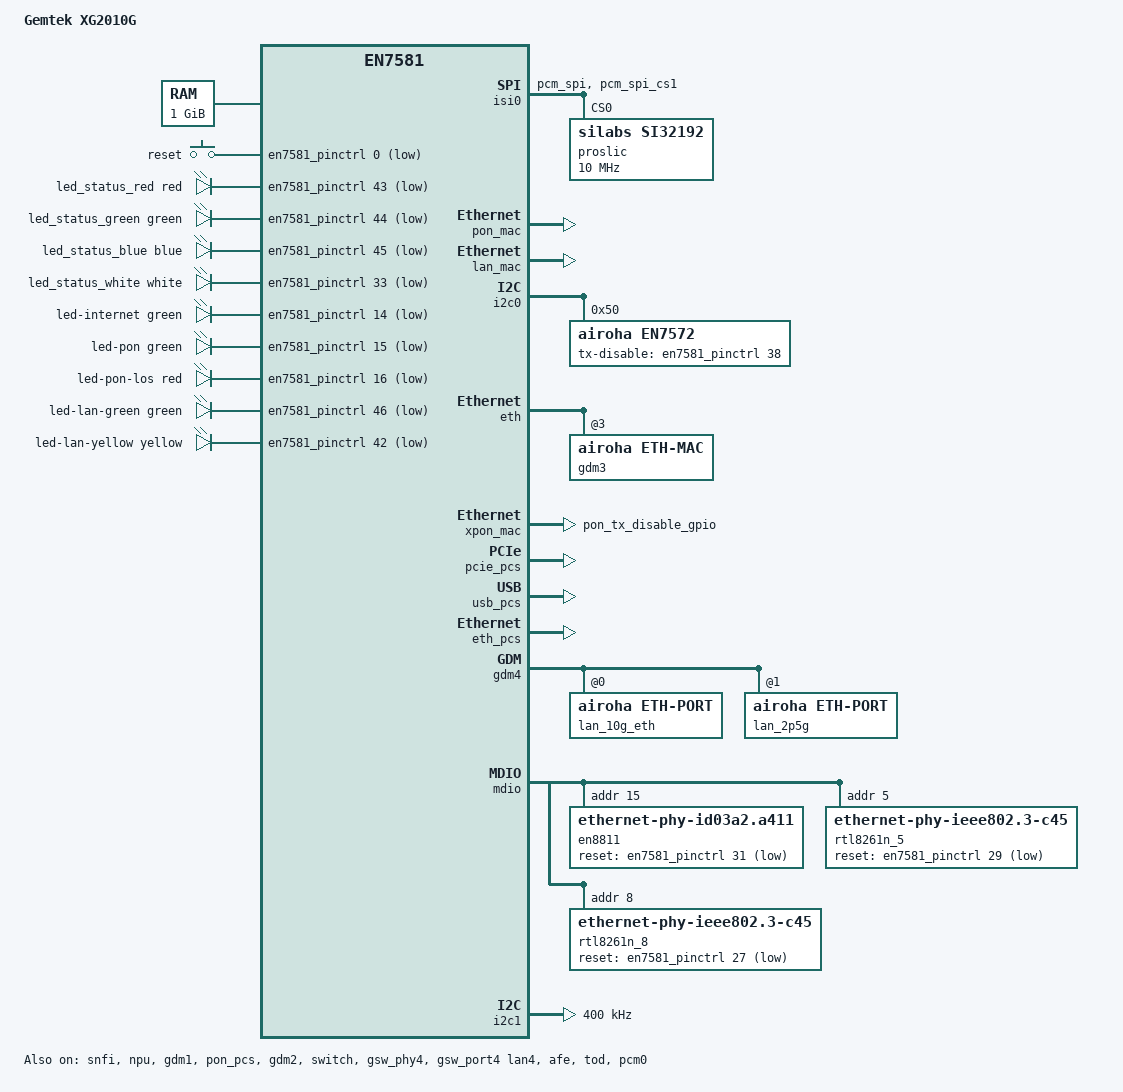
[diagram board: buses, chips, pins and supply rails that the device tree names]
// SPDX-License-Identifier: (GPL-2.0-only OR BSD-2-Clause)
/dts-v1/;

#include <dt-bindings/gpio/gpio.h>
#include <dt-bindings/input/input.h>
#include <dt-bindings/leds/common.h>
#include <dt-bindings/phy/phy.h>
#include "an7581.dtsi"

/ {
	model = "Gemtek XG2010G";
	compatible = "gemtek,xg2010g",
		     "airoha,an7581", "airoha,en7581";
	aliases {
		led-boot = &led_status_red;
		led-failsafe = &led_status_blue;
		led-running = &led_status_green;
		led-upgrade = &led_status_blue;
		serial0 = &uart1;
	};

	chosen {
		rootdisk = <&ubi_rootfs>;
		bootargs = "console=ttyS0,115200 earlycon cpufreq.default_governor=powersave ubi.block=0,fit root=/dev/fit0 rootwait rdinit=/sbin/init";
		stdout-path = "serial0:115200n8";
	};

	memory@80000000 {
		device_type = "memory";
		/* The board contains 1 GiB of DRAM. */
		reg = <0x0 0x80000000 0x0 0x40000000>;
	};

	keys {
		compatible = "gpio-keys";

		key-reset {
			label = "reset";
			gpios = <&en7581_pinctrl 0 GPIO_ACTIVE_LOW>;
			linux,code = <KEY_RESTART>;
		};
	};

	leds {
		compatible = "gpio-leds";

		led_status_red: led-status-red {
			color = <LED_COLOR_ID_RED>;
			function = LED_FUNCTION_STATUS;
			gpios = <&en7581_pinctrl 43 GPIO_ACTIVE_LOW>;
			default-state = "on";
		};

		led_status_green: led-status-green {
			color = <LED_COLOR_ID_GREEN>;
			function = LED_FUNCTION_STATUS;
			gpios = <&en7581_pinctrl 44 GPIO_ACTIVE_LOW>;
		};

		led_status_blue: led-status-blue {
			color = <LED_COLOR_ID_BLUE>;
			function = LED_FUNCTION_STATUS;
			gpios = <&en7581_pinctrl 45 GPIO_ACTIVE_LOW>;
		};
		
		led_status_white: led-status-white {
			color = <LED_COLOR_ID_WHITE>;
			function = LED_FUNCTION_STATUS;
			gpios = <&en7581_pinctrl 33 GPIO_ACTIVE_LOW>;
		};

		led-internet {
			color = <LED_COLOR_ID_GREEN>;
			function = LED_FUNCTION_WAN_ONLINE;
			gpios = <&en7581_pinctrl 14 GPIO_ACTIVE_LOW>;
			linux,default-trigger = "pon0-online";
		};

		/* The green PON LED reflects O1-O3, O4, and O5 registration stages. */
		led-pon {
			color = <LED_COLOR_ID_GREEN>;
			function = LED_FUNCTION_WAN;
			gpios = <&en7581_pinctrl 15 GPIO_ACTIVE_LOW>;
			linux,default-trigger = "pon0-registration";
		};

		/* The red PON LED indicates optical signal loss. */
		led-pon-los {
			color = <LED_COLOR_ID_RED>;
			function = LED_FUNCTION_WAN;
			gpios = <&en7581_pinctrl 16 GPIO_ACTIVE_LOW>;
			linux,default-trigger = "pon0-los";
		};

		/* GPIO42 and GPIO46 drive the LAN4 1GbE bicolor indicator. */
		led-lan-green {
			color = <LED_COLOR_ID_GREEN>;
			function = LED_FUNCTION_LAN;
			function-enumerator = <4>;
			gpios = <&en7581_pinctrl 46 GPIO_ACTIVE_LOW>;
		};

		led-lan-yellow {
			color = <LED_COLOR_ID_YELLOW>;
			function = LED_FUNCTION_LAN;
			function-enumerator = <4>;
			gpios = <&en7581_pinctrl 42 GPIO_ACTIVE_LOW>;
		};
	};
};

&cpufreq {
	reg = <0x0 0x1fa20000 0x0 0x2c0
	       0x0 0x1efbe000 0x0 0x800>;
	reg-names = "chip-scu", "mcucfg";
	airoha,force-direct-pll;
};

&cpu_opp_table {
	opp-1250000000 {
		opp-hz = /bits/ 64 <1250000000>;
		required-opps = <&smcc_opp15>;
	};

	opp-1300000000 {
		opp-hz = /bits/ 64 <1300000000>;
		required-opps = <&smcc_opp16>;
	};

	opp-1350000000 {
		opp-hz = /bits/ 64 <1350000000>;
		required-opps = <&smcc_opp17>;
	};

	opp-1400000000 {
		opp-hz = /bits/ 64 <1400000000>;
		required-opps = <&smcc_opp18>;
	};
};

&cpu_smcc_opp_table {
	smcc_opp15: opp15 {
		opp-level = <15>;
	};

	smcc_opp16: opp16 {
		opp-level = <16>;
	};

	smcc_opp17: opp17 {
		opp-level = <17>;
	};

	smcc_opp18: opp18 {
		opp-level = <18>;
	};
};

&en7581_pinctrl {
	gpio-ranges = <&en7581_pinctrl 0 13 50>;

	mdio_pins: mdio-pins {
		mux {
			function = "mdio";
			groups = "mdio";
		};
	};

	pon_pins: pon-pins {
		mux {
			/* Leave GPIO38/TX_DISABLE under optical frontend control. */
			function = "pon";
			groups = "pon_tx_disable_gpio";
		};
	};
};

&snfi {
	status = "okay";
};

&spi_nand {
	#address-cells = <1>;
	#size-cells = <1>;

	partitions {
		compatible = "fixed-partitions";
		#address-cells = <1>;
		#size-cells = <1>;

		partition@0 {
			label = "bootloader";
			reg = <0x00000000 0x00200000>;
			read-only;
		};

		partition@200000 {
			label = "uenv";
			reg = <0x00200000 0x00200000>;
		};

		partition@400000 {
			label = "dsd";
			reg = <0x00400000 0x00200000>;
		};

		partition@600000 {
			label = "chainloader";
			reg = <0x00600000 0x00100000>;
			read-only;
		};

		partition@700000 {
			label = "system";
			reg = <0x00700000 0x1b700000>;
			compatible = "linux,ubi";

			volumes {
				/*
				 * No ubootenv/ubootenv2 volumes here: the chainloader U-Boot
				 * keeps its environment in the "uenv" MTD partition
				 * (CONFIG_ENV_IS_IN_MTD=y, CONFIG_ENV_MTD_DEV="uenv",
				 * CONFIG_ENV_OFFSET=0x0, CONFIG_ENV_SIZE=0x4000) -- the same
				 * place the stock firmware uses.  Only XR1710G moves the
				 * environment into UBI volumes (CONFIG_ENV_IS_IN_UBI).
				 */
				ubi_rootfs: ubi-volume-fit {
					volname = "fit";
				};

				/*
				 * Holds an OOB-stripped copy of the whole 2 MiB "dsd"
				 * partition, not a repacked subset.  The chainloader
				 * U-Boot must dump dsd -> factory wholesale (the way
				 * pbs05/uboot-an758x does), otherwise every offset
				 * below reads back as 0xff.
				 */
				ubi_factory: ubi-volume-factory {
					volname = "factory";
				};
			};
		};

		/* reserved for bad block table */
		reserved_bmt@1be00000 {
			label = "reserved_bmt";
			reg = <0x1be00000 0x04200000>;
			read-only;
		};
	};
};

/*
 * PON serial, MACs and optical calibration all live in the stock "dsd" area.
 * The "factory" UBI volume mirrors that whole 2 MiB partition, so the offsets
 * below are the raw DSD offsets.  Verified against the stock dump
 * mtd2-dsd-stock.bin (sha256 f98919ee154cbf0c777db0cdc622590ab0db52c0b27da96
 * cdcd33891fd66ae8c):
 *
 *   0x00000-0x0010b  key=value text block:
 *                    admin_password= / admin_username= / wan_mac= / lan_mac= /
 *                    serial_number= / clei_code= / fsan= / manufacturer= /
 *                    acDisable / dcDisable
 *   0x0006c  17 B    "00:58:28:B8:B5:AA"  PON/WAN MAC   (wan_mac= value)
 *   0x00086  17 B    "00:58:28:B8:B5:AB"  LAN base MAC  (lan_mac= value)
 *   0x000a6  20 B    "XG2010G2414004129"  board serial  (serial_number= value)
 *   0x000c2  10 B    "BVMN500GRA"         CLEI          (clei_code= value)
 *   0x000d2  12 B    "AXON10503683"       PON serial    (fsan= value)
 *   0x12014  36 B    ECONET / EN7572 ASCII identifiers
 *   0x12160  160 B   optical calibration / board data
 *
 * The stock firmware reads these through /usr/sbin/gtk_dsd (get <key> on
 * /dev/mtdblock2) and /usr/bin/xpon-dsd-env.sh; OpenWrt consumes the same
 * bytes through nvmem instead.
 */
&ubi_factory {
	nvmem-layout {
		compatible = "fixed-layout";
		#address-cells = <1>;
		#size-cells = <1>;

		pon_serial: pon-serial@d2 {
			/* DSD fsan stores a 4-byte vendor ID and hexadecimal VSSN. */
			reg = <0x000000d2 0x0000000c>;
		};

		pon_mac: mac-address@6c {
			/* DSD wan_mac keeps the original 17-byte colon-delimited text. */
			compatible = "mac-base";
			reg = <0x0000006c 0x00000011>;
			#nvmem-cell-cells = <1>;
		};

		lan_mac: mac-address@86 {
			/* +0: LAN1 10GbE, +1: LAN2 10GbE, +2: LAN3 2.5GbE, +3: CPU. */
			compatible = "mac-base";
			reg = <0x00000086 0x00000011>;
			#nvmem-cell-cells = <1>;
		};

		pon_calibration: calibration@12000 {
			/* Optical calibration sits at DSD offset 0x12000. */
			reg = <0x00012000 0x00000200>;
		};
	};
};

&i2c0 {
	status = "okay";

	en7572: optical-front-end@50 {
		compatible = "airoha,en7572";
		reg = <0x50>;
		/* GPIO38 high disables optical transmission during calibration and faults. */
		tx-disable-gpios = <&en7581_pinctrl 38 GPIO_ACTIVE_HIGH>;
		nvmem-cells = <&pon_calibration>;
		nvmem-cell-names = "calibration";
	};
};

&npu {
	status = "okay";
};

&eth {
	status = "okay";

	/* GDM3 NBQ4 and NBQ5 connect the PCIe0 and PCIe1 SerDes paths. */
	gdm3: ethernet@3 {
		compatible = "airoha,eth-mac";
		reg = <3>;
		#address-cells = <1>;
		#size-cells = <0>;
		status = "okay";

		lan_10g_pcie1: ethernet-port@5 {
			compatible = "airoha,eth-port";
			reg = <5>;
			managed = "in-band-status";
			pcs-handle = <&pcie_pcs 1>;
			phy-handle = <&rtl8261n_8>;
			phy-mode = "usxgmii";
			nvmem-cells = <&lan_mac 1>;
			nvmem-cell-names = "mac-address";
			openwrt,netdev-name = "lan2";
			status = "okay";
		};
	};
};

&gdm1 {
	nvmem-cells = <&lan_mac 3>;
	nvmem-cell-names = "mac-address";
	status = "okay";
};

&pon_pcs {
	status = "okay";
};

&xpon_mac {
	pinctrl-names = "default";
	pinctrl-0 = <&pon_pins>;
	optical-front-end = <&en7572>;
	data-path = <&gdm2>;
	nvmem-cells = <&pon_serial>;
	nvmem-cell-names = "pon-serial";
	status = "okay";
};

&gdm2 {
	nvmem-cells = <&pon_mac 0>;
	nvmem-cell-names = "mac-address";
	airoha,pon-data-path;
	status = "okay";
};

&pciephy {
	/* The dual-port Ethernet PCS manages the shared PMA for PCIe1 RTL8261N. */
	status = "disabled";
};

&pcie_pcs {
	status = "okay";
};

&usb_pcs {
	status = "okay";
};

&eth_pcs {
	status = "okay";
};

&gdm4 {
	/delete-property/ pcs-handle;
	#address-cells = <1>;
	#size-cells = <0>;
	status = "okay";

	/* NBQ0 connects the Ethernet SerDes for the first panel 10GbE port. */
	lan_10g_eth: ethernet-port@0 {
		compatible = "airoha,eth-port";
		reg = <0>;
		managed = "in-band-status";
		pcs-handle = <&eth_pcs>;
		phy-handle = <&rtl8261n_5>;
		phy-mode = "usxgmii";
		nvmem-cells = <&lan_mac 0>;
		nvmem-cell-names = "mac-address";
		openwrt,netdev-name = "lan1";
		status = "okay";
	};

	/* NBQ1 connects USB1 SerDes to the EN8811H 2500BASE-X host link. */
	lan_2p5g: ethernet-port@1 {
		compatible = "airoha,eth-port";
		reg = <1>;
		pcs-handle = <&usb_pcs>;
		phy-handle = <&en8811>;
		phy-mode = "2500base-x";
		nvmem-cells = <&lan_mac 2>;
		nvmem-cell-names = "mac-address";
		openwrt,netdev-name = "lan3";
		status = "okay";
	};
};

&switch {
	pinctrl-names = "default";
	pinctrl-0 = <&mdio_pins>;
	status = "okay";
};

&mdio {
	/* EN8811H uses MDIO address 0x0f and mode 1 for 2500BASE-X. */
	en8811: ethernet-phy@f {
		compatible = "ethernet-phy-id03a2.a411";
		reg = <0x0f>;
		/* GPIO31 resets EN8811H before MD32 firmware loading. */
		reset-gpios = <&en7581_pinctrl 31 GPIO_ACTIVE_LOW>;
		reset-assert-us = <1000000>;
		reset-deassert-us = <100000>;
	};

	/* GPIO29 and GPIO27 are active-low resets for the two RTL8261N PHYs. */
	rtl8261n_5: ethernet-phy@5 {
		compatible = "ethernet-phy-ieee802.3-c45";
		reg = <5>;
		reset-gpios = <&en7581_pinctrl 29 GPIO_ACTIVE_LOW>;
		reset-assert-us = <200000>;
		reset-deassert-us = <200000>;
		reset-before-id-read;
		tx-polarity = <PHY_POL_INVERT>;
		rx-polarity = <PHY_POL_INVERT>;
	};

	rtl8261n_8: ethernet-phy@8 {
		compatible = "ethernet-phy-ieee802.3-c45";
		reg = <8>;
		reset-gpios = <&en7581_pinctrl 27 GPIO_ACTIVE_LOW>;
		reset-assert-us = <200000>;
		reset-deassert-us = <200000>;
		reset-before-id-read;
		tx-polarity = <PHY_POL_INVERT>;
		rx-polarity = <PHY_POL_INVERT>;
	};
};

&gsw_phy4 {
	/* Switch port 4 connects the 1GbE PHY at MDIO address 0x0c. */
	interrupts = <4>;
	/* PHY LEDs are disabled; provide the driver's named state without pins. */
	pinctrl-names = "gbe-led";
	pinctrl-0 = <>;
	status = "okay";
};

&gsw_port4 {
	label = "lan4";
	status = "okay";
};

/*
 * Local XG2010G voice stack. Keep it after the PON-aligned blocks above.
 * The two RJ11 sockets are wired in parallel to one Si32192. Expose one
 * logical FXS line; AFE remains available for the SoC audio DAI.
 */
/ {
	tod: tod@1fbe2300 {
		compatible = "econet,ecnt-tod";
		reg = <0x0 0x1fbe2300 0x0 0xd0>;
		interrupts = <GIC_SPI 78 IRQ_TYPE_LEVEL_HIGH>;
		status = "okay";
	};

	pcm0: pcm@1fbd0000 {
		compatible = "airoha,en7581-pcm";
		reg = <0x0 0x1fbd0000 0x0 0x1000>;
		reg-names = "pcm";
		interrupts = <GIC_SPI 27 IRQ_TYPE_LEVEL_HIGH>;
		airoha,pcm-interface-control = <0xf5051306>;
		airoha,tx-slot-config = <0x10101000 0x10301020
					 0x10501040 0x10701060>;
		airoha,rx-slot-config = <0x10101000 0x10301020
					 0x10501040 0x10701060>;
		airoha,dma-channel-mask = <0x01>;
		status = "okay";
	};

	isi0: spi@1fbd1000 {
		compatible = "airoha,en7581-isi-spi";
		reg = <0x0 0x1fbd1000 0x0 0x1000>;
		reg-names = "isi";
		airoha,scu = <&scuclk>;
		airoha,chip-scu = <&chip_scu>;
		pinctrl-names = "default";
		pinctrl-0 = <&pcm_spi_pins>;
		#address-cells = <1>;
		#size-cells = <0>;
		status = "okay";

		proslic@0 {
			compatible = "silabs,si32192";
			reg = <0>;
			spi-max-frequency = <10000000>;
			spi-cpha;
			spi-cpol;
			airoha,pcm = <&pcm0>;
			airoha,pcm-channel = <0>;
			silabs,pcm-slot-skew = <0>;
		};
	};
};

&en7581_pinctrl {
	pcm_spi_pins: pcm-spi-pins {
		mux {
			function = "pcm_spi";
			/*
			 * GPIO1/GPIO2 are shared with MDIO in the vendor
			 * MDIO workaround. The ISI controller uses the SCU reset
			 * sequence and does not claim pcm_spi_int/pcm_spi_rst.
			 */
			groups = "pcm_spi", "pcm_spi_cs1";
		};
	};
};

&i2c1 {
	compatible = "airoha,airoha-i2c";
	clock-frequency = <400000>;
	status = "okay";
};

&afe {
	status = "okay";
};
